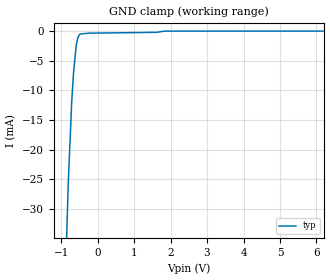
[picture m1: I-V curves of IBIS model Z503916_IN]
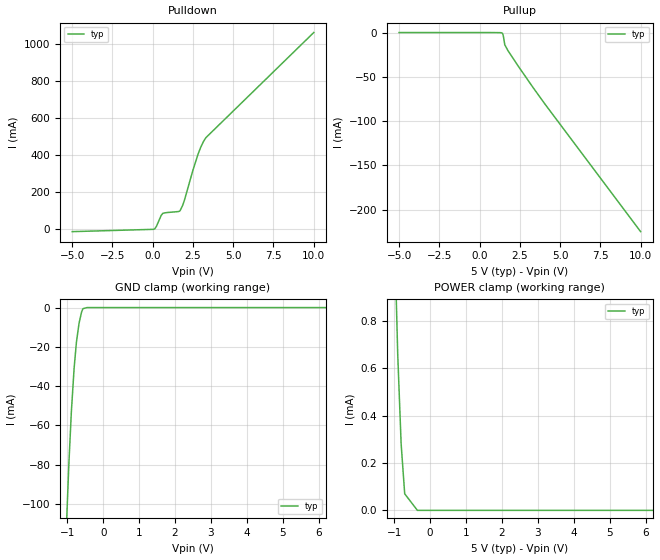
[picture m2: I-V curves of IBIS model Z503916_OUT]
| YOU ARE ONLY AUTHORIZED TO USE THIS SOFTWARE
| ACCORDING TO LICENSOR'S LICENSE RESTRICTIONS.
[IBIS Ver] 3.1
[File Name] mc54f175j.ibs
[File Rev] 2.0
[Source] Measured and created by ICX Technology
[Date] Friday 7/14/00 9:08:02 AM
[Copyright]
| (C) COPYRIGHT 1993-2000
| MENTOR GRAPHICS CORPORATION
| ICX STANDARD LIBRARY, ICX PROJECT MODELING,
| ICX CUSTOM MODELING, ICX VENDOR MODEL
| ALL RIGHTS RESERVED.
| THE FOLLOWING ARE TRADEMARKS OR SERVICE MARKS OF
| MENTOR GRAPHICS CORPORATION:ICX (R), ICX STANDARD
| LIBRARY(R), ICX PROJECT MODELING(R), ICX CUSTOM
| MODELING(R), qualityIBIS(TM), MODELVIEWER(TM),
| AND MODELEDITOR(TM)
| ALL COPIES OF SOFTWARE, INCLUDING BUT NOT LIMITED TO
| ANY MODIFICATIONS, ENHANCEMENTS OR DERIVATIVE WORKS,
| MUST CONTAIN ALL MENTOR GRAPHICS CORPORATION'S
| NOTICES AND LEGENDS, INCLUDING THOSE EMBEDDED IN
| SOFTWARE AND THOSE AFFIXED TO SOFTWARE MEDIUM
| AND CONTAINER, AS RECEIVED FROM MENTOR GRAPHICS
| CORPORATION.
|  ZAP Model Builder 2.7
[Component] MC54F175J
[Manufacturer] OnSemiconductor
[Package]
| variable   typ   min   max
R_pkg  .212ohms NA NA
L_pkg  4.758nH NA NA
C_pkg  1.944pF NA NA
[Pin] signal_name  model_name  R_pin  L_pin C_pin
1 _CLR Z503916_IN .224 7.258n 2.683p
2 Q0 Z503916_OUT .216 5.258n 2.19p
3 _Q0 Z503916_OUT .208 3.758n 1.697p
4 D0 Z503916_IN .2 2.758n 1.204p
5 D1 Z503916_IN .2 2.758n 1.204p
6 _Q1 Z503916_OUT .208 3.758n 1.697p
7 Q1 Z503916_OUT .216 5.258n 2.19p
8 GND GND .224 7.258n 2.683p
9 CLK Z503916_IN .224 7.258n 2.683p
10 Q2 Z503916_OUT .216 5.258n 2.19p
11 _Q2 Z503916_OUT .208 3.758n 1.697p
12 D2 Z503916_IN .2 2.758n 1.204p
13 D3 Z503916_IN .2 2.758n 1.204p
14 _Q3 Z503916_OUT .208 3.758n 1.697p
15 Q3 Z503916_OUT .216 5.258n 2.19p
16 VCC POWER .224 7.258n 2.683p
| Models and submodels in the file (2): Z503916_IN (Input), Z503916_OUT (Output)
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| (C) COPYRIGHT 1993-2000
| MENTOR GRAPHICS CORPORATION
| ICX STANDARD LIBRARY, ICX PROJECT MODELING,
| ICX CUSTOM MODELING, ICX VENDOR MODEL
| ALL RIGHTS RESERVED.
| THE FOLLOWING ARE TRADEMARKS OR SERVICE MARKS OF
| MENTOR GRAPHICS CORPORATION:ICX (R), ICX STANDARD
| LIBRARY(R), ICX PROJECT MODELING(R), ICX CUSTOM
| MODELING(R), qualityIBIS(TM), MODELVIEWER(TM),
| AND MODELEDITOR(TM)
| ALL COPIES OF SOFTWARE, INCLUDING BUT NOT LIMITED TO
| ANY MODIFICATIONS, ENHANCEMENTS OR DERIVATIVE WORKS,
| MUST CONTAIN ALL MENTOR GRAPHICS CORPORATION'S
| NOTICES AND LEGENDS, INCLUDING THOSE EMBEDDED IN
| SOFTWARE AND THOSE AFFIXED TO SOFTWARE MEDIUM
| AND CONTAINER, AS RECEIVED FROM MENTOR GRAPHICS
| CORPORATION.
| Model Application Version 1.89 2/18/99.
[Model] Z503916_IN
Model_type Input
Vinl = 800.0mV
Vinh = 2.000V
C_comp 4.000pF NA NA
| variable typ   min   max
[Voltage Range] 5.000V NA NA
[GND Clamp Reference] 0.000V NA NA
[POWER Clamp Reference] 5.000V NA NA
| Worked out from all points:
|   GND clamp passes 1 mA (typ) near -0.53 V on its own axis
[GND Clamp]
-5V       -928.3mA   NA         NA
-805.5mV  -25.84mA   NA         NA
-708mV    -11.78mA   NA         NA
-659.1mV  -6.98mA    NA         NA
-585.9mV  -2.395mA   NA         NA
-539.9mV  -1.061mA   NA         NA
-482.3mV  -495uA     NA         NA
-241.2mV  -348.8uA   NA         NA
1.627V    -203.8uA   NA         NA
1.826V    -2.906uA   NA         NA
10V       4.034uA    NA         NA
[POWER Clamp]
-5V       0A         NA         NA
10V       0A         NA         NA
| (C) COPYRIGHT 1993-2000
| MENTOR GRAPHICS CORPORATION
| ICX STANDARD LIBRARY, ICX PROJECT MODELING,
| ICX CUSTOM MODELING, ICX VENDOR MODEL
| ALL RIGHTS RESERVED.
| THE FOLLOWING ARE TRADEMARKS OR SERVICE MARKS OF
| MENTOR GRAPHICS CORPORATION:ICX (R), ICX STANDARD
| LIBRARY(R), ICX PROJECT MODELING(R), ICX CUSTOM
| MODELING(R), qualityIBIS(TM), MODELVIEWER(TM),
| AND MODELEDITOR(TM)
| ALL COPIES OF SOFTWARE, INCLUDING BUT NOT LIMITED TO
| ANY MODIFICATIONS, ENHANCEMENTS OR DERIVATIVE WORKS,
| MUST CONTAIN ALL MENTOR GRAPHICS CORPORATION'S
| NOTICES AND LEGENDS, INCLUDING THOSE EMBEDDED IN
| SOFTWARE AND THOSE AFFIXED TO SOFTWARE MEDIUM
| AND CONTAINER, AS RECEIVED FROM MENTOR GRAPHICS
| CORPORATION.
| Model Application Version 1.89 2/18/99.
[Model] Z503916_OUT
Model_type Output
Vref=0.000V
Rref=500.0ohms
Cref=50.00pF
Vmeas=1.500V
C_comp 8.000pF NA NA
| variable typ   min   max
[Voltage Range] 5.000V NA NA
[POWER Clamp Reference] 5.000V NA NA
[Pullup Reference] 5.000V NA NA
[Pulldown Reference] 0.000V NA NA
[GND Clamp Reference] 0.000V NA NA
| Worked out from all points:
|   slope of the pulldown table from 0 to 0.75 V, typ, clamps not added: 8.45 ohm
|   slope of the pullup table from 0 to 0.75 V, typ, clamps not added: 23.9 kohm
|   GND clamp passes 1 mA (typ) near -0.58 V on its own axis
|   POWER clamp passes 1 mA (typ) near -0.96 V on its own axis
[GND Clamp]
-5V       -2.343A    NA         NA
-1.064V   -129.4mA   NA         NA
-956.8mV  -79.49mA   NA         NA
-887.8mV  -53.08mA   NA         NA
-810.5mV  -30.75mA   NA         NA
-746.8mV  -17.65mA   NA         NA
-673.8mV  -8.002mA   NA         NA
-603.6mV  -2.289mA   NA         NA
-566.4mV  -587.3uA   NA         NA
-453.1mV  0A         NA         NA
10V       0A         NA         NA
[Pulldown]
-5V       -13.81mA   NA         NA
68.78mV   -794.8uA   NA         NA
233mV     15.58mA    NA         NA
527.7mV   74.28mA    NA         NA
633.8mV   85.46mA    NA         NA
1.699V    99.18mA    NA         NA
1.973V    157.1mA    NA         NA
2.495V    317.4mA    NA         NA
2.818V    405.3mA    NA         NA
3.145V    471.9mA    NA         NA
3.301V    493.4mA    NA         NA
10V       1.061A     NA         NA
[Pullup]
-5V       16.32uA    NA         NA
566mV     16.32uA    NA         NA
1.416V    -866.8uA   NA         NA
1.479V    -4.366mA   NA         NA
1.562V    -13.68mA   NA         NA
1.739V    -19.78mA   NA         NA
3.326V    -62.28mA   NA         NA
10V       -224.9mA   NA         NA
[POWER Clamp]
-5V       27.7mA     NA         NA
-1.055V   1.538mA    NA         NA
-902mV    659.5uA    NA         NA
-807mV    281.4uA    NA         NA
-708mV    70.06uA    NA         NA
-354mV    0A         NA         NA
10V       0A         NA         NA
[Ramp]
| variable typ min max
dV/dt_r 2.048/3.235n NA NA
dV/dt_f 2.048/1.256n NA NA
R_load = 500.0Ohms
